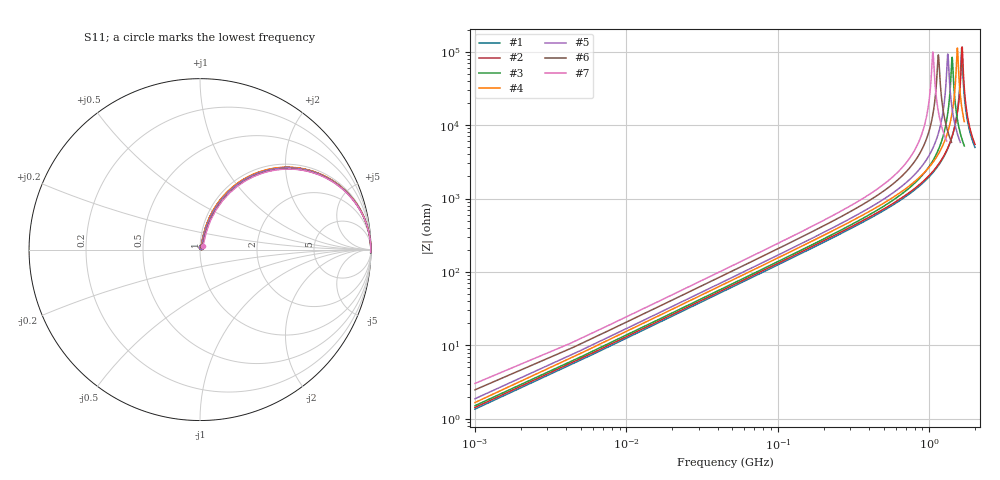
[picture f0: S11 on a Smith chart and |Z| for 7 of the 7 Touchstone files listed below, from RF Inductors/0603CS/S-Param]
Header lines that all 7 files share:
# MHZ S MA R 50
!Freq  MagS11  AngS11  MagS21  AngS21  MagS12  AngS12  MagS22  AngS22
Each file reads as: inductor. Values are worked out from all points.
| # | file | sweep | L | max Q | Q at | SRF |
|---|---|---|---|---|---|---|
| 1 | 06CSR20.S2P | 1 MHz to 2 GHz | 198 nH | 60.6 | 629.7 MHz | 1.628 GHz |
| 2 | 06CSR21.S2P | 1 MHz to 2 GHz | 208 nH | 61.9 | 629.7 MHz | 1.643 GHz |
| 3 | 06CSR22.S2P | 1 MHz to 1.7 GHz | 219 nH | 56.4 | 526.8 MHz | 1.409 GHz |
| 4 | 06CSR25.S2P | 1 MHz to 1.7 GHz | 246 nH | 69.9 | 556.4 MHz | 1.527 GHz |
| 5 | 06CSR27.S2P | 1 MHz to 1.6 GHz | 268 nH | 56.5 | 491.8 MHz | 1.322 GHz |
| 6 | 06CSR33.S2P | 1 MHz to 1.4 GHz | 327 nH | 47 | 437.2 MHz | 1.146 GHz |
| 7 | 06CSR39.S2P | 1 MHz to 1.3 GHz | 386 nH | 48.9 | 406 MHz | 1.054 GHz |
